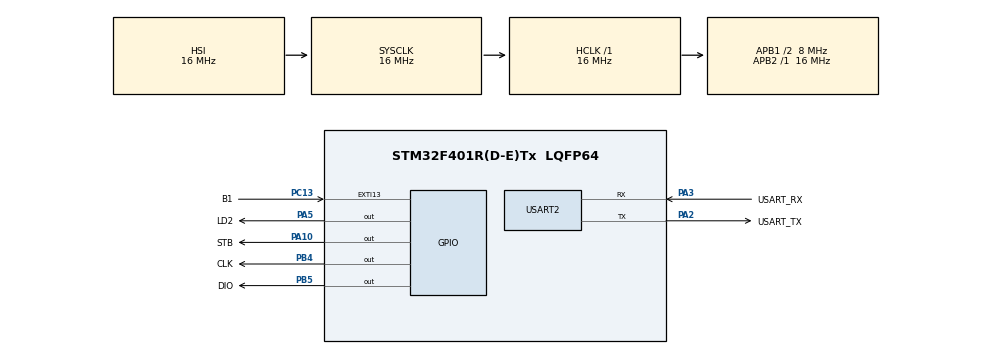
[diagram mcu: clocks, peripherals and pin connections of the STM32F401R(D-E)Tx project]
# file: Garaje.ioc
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Mcu.Family=STM32F4
Mcu.Name=STM32F401R(D-E)Tx
Mcu.Package=LQFP64
NVIC.EXTI15_10_IRQn=true\:0\:0\:false\:false\:true\:true\:true\:true
NVIC.PriorityGroup=NVIC_PRIORITYGROUP_0
NVIC.TIM3_IRQn=true\:0\:0\:false\:false\:true\:true\:true\:true
PA10.GPIO_Label=STB
PA10.Signal=GPIO_Output
PA13.GPIO_Label=TMS
PA13.Mode=Serial_Wire
PA13.Signal=SYS_JTMS-SWDIO
PA14.GPIO_Label=TCK
PA14.Mode=Serial_Wire
PA14.Signal=SYS_JTCK-SWCLK
PA2.GPIO_Label=USART_TX
PA2.GPIO_Mode=GPIO_MODE_AF_PP
PA2.GPIO_PuPd=GPIO_NOPULL
PA2.GPIO_Speed=GPIO_SPEED_FREQ_LOW
PA2.Mode=Asynchronous
PA2.Signal=USART2_TX
PA3.GPIO_Label=USART_RX
PA3.GPIO_Mode=GPIO_MODE_AF_PP
PA3.GPIO_PuPd=GPIO_NOPULL
PA3.GPIO_Speed=GPIO_SPEED_FREQ_LOW
PA3.Mode=Asynchronous
PA3.Signal=USART2_RX
PA5.GPIO_Label=LD2
PA5.GPIO_Mode=GPIO_MODE_OUTPUT_PP
PA5.GPIO_PuPd=GPIO_NOPULL
PA5.GPIO_Speed=GPIO_SPEED_FREQ_LOW
PA5.Signal=GPIO_Output
PA8.Signal=I2C3_SCL
PB3.GPIO_Label=SWO
PB3.Signal=SYS_JTDO-SWO
PB4.GPIO_Label=CLK
PB4.Signal=GPIO_Output
PB5.GPIO_Label=DIO
PB5.Signal=GPIO_Output
PC13-ANTI_TAMP.GPIO_Label=B1
PC13-ANTI_TAMP.Signal=GPXTI13
PC14-OSC32_IN.Signal=RCC_OSC32_IN
PC15-OSC32_OUT.Signal=RCC_OSC32_OUT
PH0\ -\ OSC_IN.Mode=HSE-External-Oscillator
PH0\ -\ OSC_IN.Signal=RCC_OSC_IN
PH1\ -\ OSC_OUT.Mode=HSE-External-Oscillator
PH1\ -\ OSC_OUT.Signal=RCC_OSC_OUT
ProjectManager.HeapSize=0x200
ProjectManager.StackSize=0x400
ProjectManager.TargetToolchain=STM32CubeIDE
RCC.48MHZClocksFreq_Value=48000000
RCC.AHBFreq_Value=16000000
RCC.APB1CLKDivider=RCC_HCLK_DIV2
RCC.APB1Freq_Value=8000000
RCC.APB1TimFreq_Value=16000000
RCC.APB2Freq_Value=16000000
RCC.APB2TimFreq_Value=16000000
RCC.CortexFreq_Value=16000000
RCC.HCLKFreq_Value=16000000
RCC.HSE_VALUE=8000000
RCC.HSI_VALUE=16000000
RCC.LSE_VALUE=32768
RCC.PLLM=4
RCC.PLLN=72
RCC.PLLP=RCC_PLLP_DIV4
RCC.PLLQ=3
RCC.PLLSourceVirtual=RCC_PLLSOURCE_HSE
RCC.SYSCLKFreq_VALUE=16000000
RCC.VCOOutputFreq_Value=144000000
USART2.VirtualMode=VM_ASYNC
VP_TIM3_VS_ClockSourceINT.Mode=Internal
board=NUCLEO-F401RE

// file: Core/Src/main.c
/* USER CODE BEGIN Header */
/**
 ******************************************************************************
 * @file           : main.c
 * @brief          : Main program body
 ******************************************************************************
 * @attention
 *
 * Copyright (c) 2024 STMicroelectronics.
 * All rights reserved.
 *
 * This software is licensed under terms that can be found in the LICENSE file
 * in the root directory of this software component.
 * If no LICENSE file comes with this software, it is provided AS-IS.
 *
 ******************************************************************************
 */
/* USER CODE END Header */
#include "main.h"

/* USER CODE BEGIN Includes */
#include "TM1638.h"
/* USER CODE END Includes */

TIM_HandleTypeDef htim3;

UART_HandleTypeDef huart2;

void SystemClock_Config(void);
static void MX_GPIO_Init(void);
static void MX_USART2_UART_Init(void);
static void MX_TIM3_Init(void);

/* USER CODE BEGIN 0 */

// Define el número total de pasos que puede moverse la barrera
#define PASOS 8
// Contiene la configuración de pines y puertos para CLK, STB y DIO
TM1638 TM;

// Enumeración que define todos los estados posibles de la barrera
enum estados {
	stCerrado,          // Estado: Barrera completamente cerrada
	stAbierto,          // Estado: Barrera completamente abierta
	stCerrando,         // Estado: Barrera en proceso de cierre
	stAbriendo,         // Estado: Barrera en proceso de apertura
	stParadoAbriendo,   // Estado: Barrera detenida durante la apertura
	stParadoCerrado     // Estado: Barrera detenida durante el cierre
};

// Inicialización del estado inicial como cerrado
enum estados estado = stCerrado;

// Variables para el control del botón B1
int flancoP_B1 = 0; // Detecta el flanco positivo del botón (1 cuando se presiona)
int last_value_B1;      // Almacena el último estado leído del botón
int value_B1;           // Almacena el estado actual del botón

// Control de posición de la barrera
int posicion = 0;    // 0 = completamente cerrada, PASOS = completamente abierta

// Temporizador para controlar intervalos de movimiento
uint32_t timer; // Almacena marcas de tiempo para controlar la velocidad de movimiento
/* USER CODE END 0 */

int main(void) {

	/* MCU Configuration--------------------------------------------------------*/

	/* Reset of all peripherals, Initializes the Flash interface and the Systick. */
	HAL_Init();

	/* Configure the system clock */
	SystemClock_Config();

	/* Initialize all configured peripherals */

	// Inicialización de los periféricos necesarios
	MX_GPIO_Init();           // Inicializa los pines GPIO
	MX_USART2_UART_Init();    // Inicializa la comunicación UART
	MX_TIM3_Init();           // Inicializa el temporizador 3

	/* USER CODE BEGIN 2 */
	// Configuración del display TM1638
	TM.clk_port = CLK_GPIO_Port;   // Asigna el puerto del reloj
	TM.clk_pin = CLK_Pin;          // Asigna el pin del reloj
	TM.stb_port = STB_GPIO_Port;   // Asigna el puerto del strobe
	TM.stb_pin = STB_Pin;          // Asigna el pin del strobe
	TM.dio_port = DIO_GPIO_Port;   // Asigna el puerto de datos
	TM.dio_pin = DIO_Pin;          // Asigna el pin de datos

	// Inicialización del display
	tm1638_TurnOn(&TM, 7);         // Enciende el display con brillo máximo (7)
	tm1638_DisplayClear(&TM);       // Limpia el contenido del display

	char buffer[9];                  // Buffer para almacenar texto a mostrar

	// Función para mostrar el estado de los LEDs según la posición
	void ShowLed(int leds) {
		for (int i = 1; i <= 8; i++) {
			tm1638_Led(&TM, i, i <= leds); // Enciende los LEDs hasta la posición actual
		}
	}

	// Función que verifica si no hay obstáculos en la barrera
	bool BarreraOk() {
		uint8_t buttons = tm1638_ScanButtons(&TM); // Lee el estado de los botones
		return !tm1638_KeyState(&TM, buttons, 1); // Retorna true si no hay obstáculo
	}

	/* USER CODE END 2 */

	/* Infinite loop */
	/* USER CODE BEGIN WHILE */
	// Guarda el último estado del botón B1 para detectar cambios
	last_value_B1 = HAL_GPIO_ReadPin(B1_GPIO_Port, B1_Pin);

	// Bucle principal del programa
	while (1) {
		// Lee el estado actual del botón B1
		value_B1 = HAL_GPIO_ReadPin(B1_GPIO_Port, B1_Pin);
		// Detecta flanco positivo (transición de alto a bajo)
		flancoP_B1 = (last_value_B1 != value_B1) && !value_B1;

		// Debounce del botón
		if (flancoP_B1)
			HAL_Delay(500);

		//Máquina de estados - Transiciones
		switch (estado) {
		case stCerrado:
			if (flancoP_B1) {              // Si se presiona el botón
				estado = stAbriendo;        // Cambia al estado de apertura
				timer = HAL_GetTick();      // Inicia el temporizador
			}
			break;

		case stAbierto:
			if (flancoP_B1) {              // Si se presiona el botón
				estado = stCerrando;        // Cambia al estado de cierre
				timer = HAL_GetTick();      // Inicia el temporizador
			}
			break;

		case stCerrando:
			if (flancoP_B1) {              // Si se presiona el botón
				estado = stParadoCerrado;   // Detiene el cierre
			} else {
				// Verifica si ha pasado 1 segundo
				if ((HAL_GetTick() - timer) > 1000) {
					if (BarreraOk())        // Si no hay obstáculos
						posicion--;          // Decrementa la posición
					timer = HAL_GetTick();   // Reinicia el temporizador
				}
			}
			// Si llegó a la posición cerrada
			if (posicion == 0)
				estado = stCerrado;
			break;

		case stAbriendo:
			if (flancoP_B1) {              // Si se presiona el botón
				estado = stParadoAbriendo;  // Detiene la apertura
			} else {
				// Verifica si ha pasado 1 segundo
				if ((HAL_GetTick() - timer) > 1000) {
					posicion++;             // Incrementa la posición
					timer = HAL_GetTick();  // Reinicia el temporizador
				}
			}
			// Si llegó a la posición abierta
			if (posicion == PASOS)
				estado = stAbierto;
			break;

		case stParadoAbriendo:
			if (flancoP_B1) {              // Si se presiona el botón
				estado = stCerrando;        // Comienza el cierre
			}
			break;

		case stParadoCerrado:
			if (flancoP_B1) {              // Si se presiona el botón
				estado = stAbriendo;        // Comienza la apertura
			}
			break;
		}

		//Máquina de estados - Acciones
		switch (estado) {
		case stCerrado:
			tm1638_DisplayTxt(&TM, "cLoSE");  // Muestra "CLOSE" en el display
			break;

		case stAbierto:
			tm1638_DisplayTxt(&TM, "oPEn");   // Muestra "OPEN" en el display
			break;

		case stAbriendo:
			sprintf(buffer, "%02d", PASOS - posicion);  // Formatea el contador
			tm1638_DisplayTxt(&TM, buffer);    // Muestra la cuenta regresiva
			break;

		case stCerrando:
			if (!BarreraOk())
				tm1638_DisplayTxt(&TM, "bArrErA");  // Indica obstáculo
			else {
				sprintf(buffer, "%02d", posicion);   // Formatea la posición
				tm1638_DisplayTxt(&TM, buffer);    // Muestra la posición actual
			}
			break;

		case stParadoAbriendo:
		case stParadoCerrado:
			tm1638_DisplayTxt(&TM, "PArAdo");  // Indica estado detenido
			break;
		}

		// Actualiza los LEDs según la posición actual
		ShowLed(PASOS - posicion);
	}
	/* USER CODE END WHILE */
}

void SystemClock_Config(void) {
	RCC_OscInitTypeDef RCC_OscInitStruct = { 0 };
	RCC_ClkInitTypeDef RCC_ClkInitStruct = { 0 };

	/** Configure the main internal regulator output voltage
	 */
	__HAL_RCC_PWR_CLK_ENABLE();
	__HAL_PWR_VOLTAGESCALING_CONFIG(PWR_REGULATOR_VOLTAGE_SCALE2);

	/** Initializes the RCC Oscillators according to the specified parameters
	 * in the RCC_OscInitTypeDef structure.
	 */
	RCC_OscInitStruct.OscillatorType = RCC_OSCILLATORTYPE_HSI;
	RCC_OscInitStruct.HSIState = RCC_HSI_ON;
	RCC_OscInitStruct.HSICalibrationValue = RCC_HSICALIBRATION_DEFAULT;
	RCC_OscInitStruct.PLL.PLLState = RCC_PLL_NONE;
	if (HAL_RCC_OscConfig(&RCC_OscInitStruct) != HAL_OK) {
		Error_Handler();
	}

	/** Initializes the CPU, AHB and APB buses clocks
	 */
	RCC_ClkInitStruct.ClockType = RCC_CLOCKTYPE_HCLK | RCC_CLOCKTYPE_SYSCLK
			| RCC_CLOCKTYPE_PCLK1 | RCC_CLOCKTYPE_PCLK2;
	RCC_ClkInitStruct.SYSCLKSource = RCC_SYSCLKSOURCE_HSI;
	RCC_ClkInitStruct.AHBCLKDivider = RCC_SYSCLK_DIV1;
	RCC_ClkInitStruct.APB1CLKDivider = RCC_HCLK_DIV2;
	RCC_ClkInitStruct.APB2CLKDivider = RCC_HCLK_DIV1;

	if (HAL_RCC_ClockConfig(&RCC_ClkInitStruct, FLASH_LATENCY_0) != HAL_OK) {
		Error_Handler();
	}
}

static void MX_TIM3_Init(void) {

	TIM_ClockConfigTypeDef sClockSourceConfig = { 0 };
	TIM_MasterConfigTypeDef sMasterConfig = { 0 };

	htim3.Instance = TIM3;
	htim3.Init.Prescaler = 0;
	htim3.Init.CounterMode = TIM_COUNTERMODE_UP;
	htim3.Init.Period = 65535;
	htim3.Init.ClockDivision = TIM_CLOCKDIVISION_DIV1;
	htim3.Init.AutoReloadPreload = TIM_AUTORELOAD_PRELOAD_DISABLE;
	if (HAL_TIM_Base_Init(&htim3) != HAL_OK) {
		Error_Handler();
	}
	sClockSourceConfig.ClockSource = TIM_CLOCKSOURCE_INTERNAL;
	if (HAL_TIM_ConfigClockSource(&htim3, &sClockSourceConfig) != HAL_OK) {
		Error_Handler();
	}
	sMasterConfig.MasterOutputTrigger = TIM_TRGO_RESET;
	sMasterConfig.MasterSlaveMode = TIM_MASTERSLAVEMODE_DISABLE;
	if (HAL_TIMEx_MasterConfigSynchronization(&htim3, &sMasterConfig)
			!= HAL_OK) {
		Error_Handler();
	}

}

static void MX_USART2_UART_Init(void) {

	huart2.Instance = USART2;
	huart2.Init.BaudRate = 115200;
	huart2.Init.WordLength = UART_WORDLENGTH_8B;
	huart2.Init.StopBits = UART_STOPBITS_1;
	huart2.Init.Parity = UART_PARITY_NONE;
	huart2.Init.Mode = UART_MODE_TX_RX;
	huart2.Init.HwFlowCtl = UART_HWCONTROL_NONE;
	huart2.Init.OverSampling = UART_OVERSAMPLING_16;
	if (HAL_UART_Init(&huart2) != HAL_OK) {
		Error_Handler();
	}

}

static void MX_GPIO_Init(void) {
	GPIO_InitTypeDef GPIO_InitStruct = { 0 };

	/* GPIO Ports Clock Enable */
	__HAL_RCC_GPIOC_CLK_ENABLE();
	__HAL_RCC_GPIOH_CLK_ENABLE();
	__HAL_RCC_GPIOA_CLK_ENABLE();
	__HAL_RCC_GPIOB_CLK_ENABLE();

	/*Configure GPIO pin Output Level */
	HAL_GPIO_WritePin(GPIOA, LD2_Pin | STB_Pin, GPIO_PIN_RESET);

	/*Configure GPIO pin Output Level */
	HAL_GPIO_WritePin(GPIOB, CLK_Pin | DIO_Pin, GPIO_PIN_RESET);

	/*Configure GPIO pin : B1_Pin */
	GPIO_InitStruct.Pin = B1_Pin;
	GPIO_InitStruct.Mode = GPIO_MODE_IT_RISING;
	GPIO_InitStruct.Pull = GPIO_NOPULL;
	HAL_GPIO_Init(B1_GPIO_Port, &GPIO_InitStruct);

	/*Configure GPIO pins : LD2_Pin STB_Pin */
	GPIO_InitStruct.Pin = LD2_Pin | STB_Pin;
	GPIO_InitStruct.Mode = GPIO_MODE_OUTPUT_PP;
	GPIO_InitStruct.Pull = GPIO_NOPULL;
	GPIO_InitStruct.Speed = GPIO_SPEED_FREQ_LOW;
	HAL_GPIO_Init(GPIOA, &GPIO_InitStruct);

	/*Configure GPIO pin : PA8 */
	GPIO_InitStruct.Pin = GPIO_PIN_8;
	GPIO_InitStruct.Mode = GPIO_MODE_AF_OD;
	GPIO_InitStruct.Pull = GPIO_NOPULL;
	GPIO_InitStruct.Speed = GPIO_SPEED_FREQ_VERY_HIGH;
	GPIO_InitStruct.Alternate = GPIO_AF4_I2C3;
	HAL_GPIO_Init(GPIOA, &GPIO_InitStruct);

	/*Configure GPIO pins : CLK_Pin DIO_Pin */
	GPIO_InitStruct.Pin = CLK_Pin | DIO_Pin;
	GPIO_InitStruct.Mode = GPIO_MODE_OUTPUT_PP;
	GPIO_InitStruct.Pull = GPIO_NOPULL;
	GPIO_InitStruct.Speed = GPIO_SPEED_FREQ_LOW;
	HAL_GPIO_Init(GPIOB, &GPIO_InitStruct);

	/* EXTI interrupt init*/
	HAL_NVIC_SetPriority(EXTI15_10_IRQn, 0, 0);
	HAL_NVIC_EnableIRQ(EXTI15_10_IRQn);

}

void Error_Handler(void) {
	__disable_irq();
	while (1) {
	}
}
